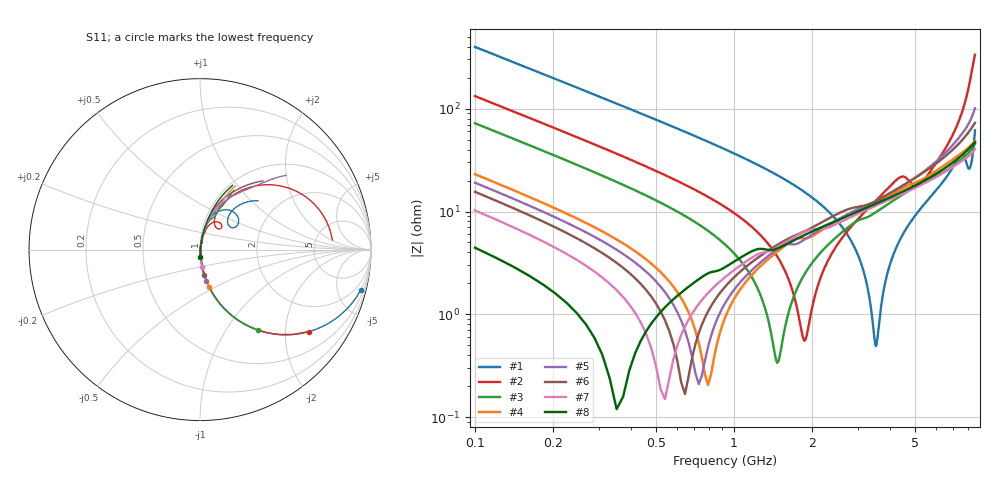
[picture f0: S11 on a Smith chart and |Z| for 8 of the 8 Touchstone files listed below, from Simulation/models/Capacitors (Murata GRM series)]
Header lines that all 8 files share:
!These Parameters are Measured in Series Mode Connection
!Data Generated on Mar 13, 2026
!  o--ll--o
!Port1  Port2
!  o------o
!Operation Temp=25[degC], DC Bias Voltage=0[V]
!Freq. Start=100[MHz] Stop=9[GHz] 401[Steps]
# Hz S RI R 50
!Freq.(Hz) S11(Real) S11(Imag) S21(Real) S21(Imag) S12(Real) S12(Imag) S22(Real) S22(Imag)
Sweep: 100 MHz to 8.5 GHz
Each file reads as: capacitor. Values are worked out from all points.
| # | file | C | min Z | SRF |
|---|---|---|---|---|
| 1 | GRM_Murata_4pF.s2p | 4 pF | 492 mohm | 3.526 GHz |
| 2 | GRM_Murata_12pF.s2p | 12 pF | 555 mohm | 1.872 GHz |
| 3 | GRM_Murata_22pF.s2p | 22 pF | 338 mohm | 1.471 GHz |
| 4 | GRM_Murata_68pF.s2p | 68 pF | 206 mohm | 793.3 MHz |
| 5 | GRM_Murata_82pF.s2p | 82 pF | 210 mohm | 732 MHz |
| 6 | GRM_Murata_100pF.s2p | 100 pF | 169 mohm | 643.1 MHz |
| 7 | GRM_Murata_150pF.s2p | 150 pF | 150 mohm | 536.4 MHz |
| 8 | GRM_Murata_330pF.s2p | 330 pF | 120 mohm | 358.2 MHz |
